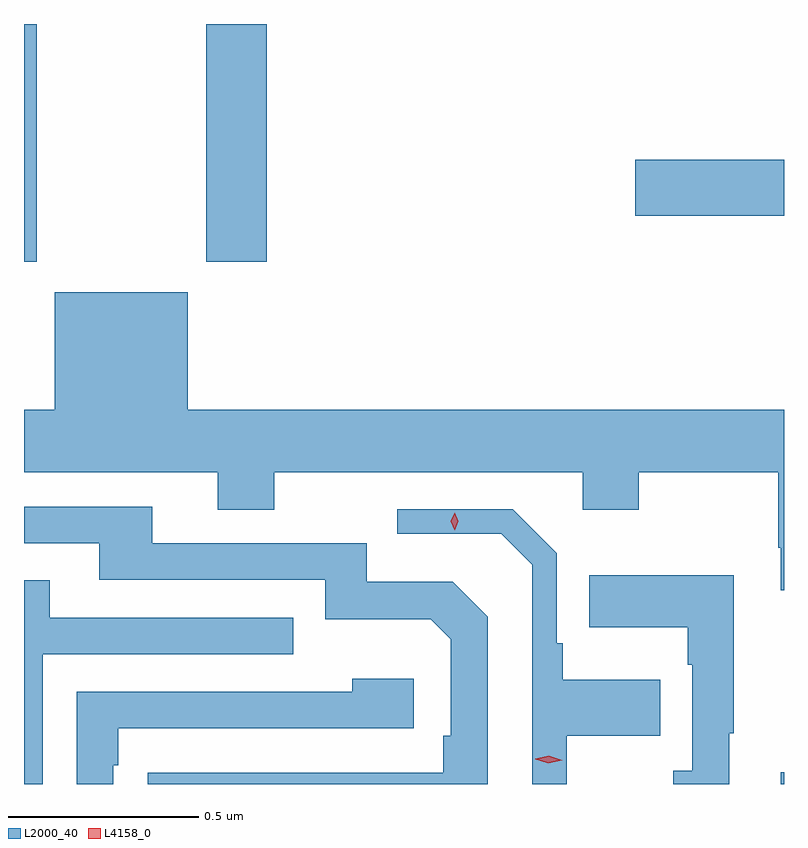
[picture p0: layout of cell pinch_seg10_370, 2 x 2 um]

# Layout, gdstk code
import gdstk
lib = gdstk.Library(unit=1e-6, precision=1e-09)
def R(c, l, rs):  # rectangles x0, y0, x1, y1
    for r in rs: c.add(gdstk.rectangle(r[:2], r[2:], *l))
def P(c, l, *ps):  # polygons
    for p in ps: c.add(gdstk.Polygon(p, *l))
L2000_40 = (2000, 40)
L4158_0 = (4158, 0)

pinch_seg10_370 = lib.new_cell('pinch_seg10_370')
R(pinch_seg10_370, L2000_40, [(395.711,1263.531,395.719,1263.562), (393.719,1264.905,393.753,1265.531), (394.198,1264.905,394.358,1265.531), (395.328,1265.027,395.719,1265.174)])
P(pinch_seg10_370, L2000_40, [(395.719,1264.516),(394.15,1264.516),(394.15,1264.825),(393.8,1264.825),(393.8,1264.516),(393.719,1264.516),(393.719,1264.352),(394.229,1264.352),(394.229,1264.253),(394.377,1264.253),(394.377,1264.352),(395.189,1264.352),(395.189,1264.253),(395.337,1264.253),(395.337,1264.352),(395.704,1264.352),(395.704,1264.153),(395.711,1264.153),(395.711,1264.041),(395.719,1264.041)],
  [(394.939,1263.971),(394.847,1264.063),(394.621,1264.063),(394.621,1264.164),(394.057,1264.164),(394.057,1264.26),(393.719,1264.26),(393.719,1264.164),(393.917,1264.164),(393.917,1264.068),(394.512,1264.068),(394.512,1263.965),(394.789,1263.965),(394.842,1263.912),(394.842,1263.658),(394.822,1263.658),(394.822,1263.561),(394.147,1263.561),(394.147,1263.56),(394.045,1263.56),(394.045,1263.531),(394.939,1263.531)],
  [(395.147,1263.658),(395.393,1263.658),(395.393,1263.805),(395.137,1263.805),(395.137,1263.901),(395.121,1263.901),(395.121,1264.138),(395.005,1264.254),(394.701,1264.254),(394.701,1264.19),(394.975,1264.19),(395.057,1264.108),(395.057,1263.531),(395.147,1263.531)],
  [(395.575,1263.665),(395.587,1263.665),(395.587,1264.081),(395.206,1264.081),(395.206,1263.943),(395.466,1263.943),(395.466,1263.845),(395.478,1263.845),(395.478,1263.566),(395.427,1263.566),(395.427,1263.531),(395.575,1263.531)],
  [(393.768,1263.873),(394.427,1263.873),(394.427,1263.969),(393.787,1263.969),(393.787,1264.067),(393.719,1264.067),(393.719,1263.531),(393.768,1263.531)],
  [(393.954,1263.581),(393.967,1263.581),(393.967,1263.678),(394.744,1263.678),(394.744,1263.808),(394.583,1263.808),(394.583,1263.774),(393.858,1263.774),(393.858,1263.531),(393.954,1263.531)])
P(pinch_seg10_370, L4158_0, [(395.099,1263.585),(395.065,1263.596),(395.065,1263.597),(395.065,1263.597),(395.1,1263.605),(395.135,1263.593),(395.135,1263.593),(395.135,1263.593)],
  [(394.852,1264.199),(394.852,1264.199),(394.842,1264.222),(394.852,1264.245),(394.852,1264.245),(394.853,1264.245),(394.862,1264.222),(394.853,1264.199)])

lib.write_gds('pinch_seg10_370.gds')
